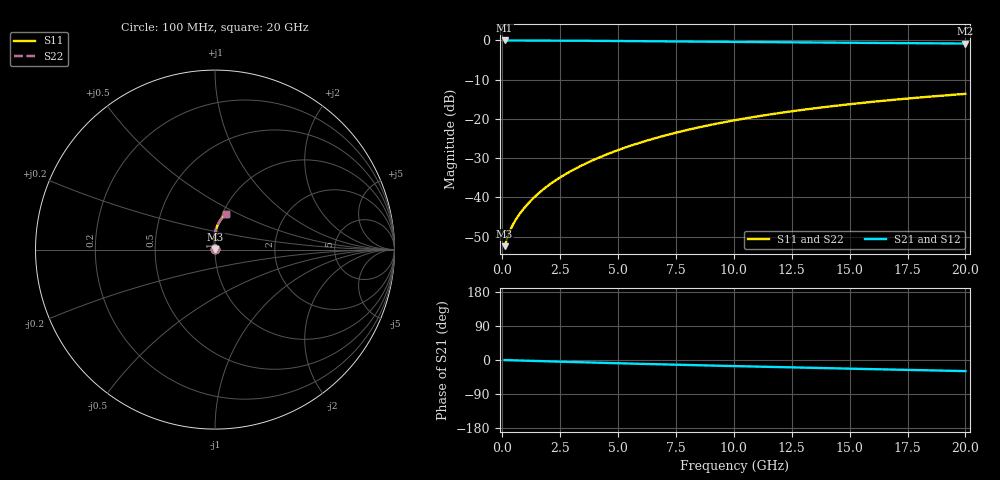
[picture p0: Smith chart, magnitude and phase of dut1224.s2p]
! Touchstone file exported from HFSS 2024.1.0
!  File:  C:/UserFiles/LocalFiles/RDL_TSV_Batchsim/temp_RDL_top_1224_1780240374.aedt
!  Generated:  11:14:59 PM May 31, 2026
!  Design:  RDL_top
!  Project:  temp_RDL_top_1224_1780240374
!  Setup:  Setup1
!  Solution:  Sweep
! Variables:
!  dtsv = 10.80580581um
!  hbump = 3um
!  htsv = 84.4um
!  ldown = 100um
!  lrdl = 457.48um
!  p = 40
!  p1 = 43.75um
!  rhole = 1um
!  t = 450um
!  tdown = 3.915915916um
!  trdl = 3um
!  wdown = 15.38538539um
!  wrdl = 28.45um
# GHz S MA R 50.000000
! Terminal data exported
! Port[1] = Box2_T1
! Port[2] = Box2_T2
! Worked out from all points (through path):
!   200 points, 100 MHz to 20 GHz, reference 50 ohm
!   highest |S21| = -0.02 dB at 100 MHz (marker M1); lowest = -0.8 dB at 20 GHz (marker M2)
!   group delay of S21, straight-line fit = 4.01 ps
!   lowest |S11| = -52.4 dB at 100 MHz (marker M3), VSWR 1.00, Z = 50.2 + j0.0933 ohm
!   |S11| at or under -10 dB: start of sweep to end of sweep
!   |S22| runs from -52.4 to -13.6 dB; largest |S21 - S12| = 2.6e-15
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0.1  0.002393 22.9  0.9978 -0.2  0.9978 -0.2  0.002393 22.9
! Gamma 0 0 0 0
! Port Impedance 50 0 50 0
0.3  0.00356 45.3  0.9974 -0.6  0.9974 -0.6  0.00356 45.3
0.4  0.004156 50.8  0.9972 -0.7  0.9972 -0.7  0.004156 50.8
0.5  0.004731 55.1  0.997 -0.9  0.997 -0.9  0.004731 55.1
0.6  0.005299 58.7  0.9968 -1.1  0.9968 -1.1  0.0053 58.7
0.8  0.006449 64.7  0.9965 -1.5  0.9965 -1.5  0.006449 64.7
1  0.007641 69.4  0.9962 -1.8  0.9962 -1.8  0.007641 69.4
1.2  0.00888 73.2  0.9959 -2.2  0.9959 -2.2  0.008881 73.2
1.7  0.01218 80.0  0.9948 -3.0  0.9948 -3.0  0.01218 80.0
2.2  0.01573 84.5  0.9935 -3.9  0.9935 -3.9  0.01573 84.5
2.8  0.02032 88.1  0.9916 -4.9  0.9916 -4.9  0.02032 88.1
3.5  0.02612 90.9  0.9889 -6.1  0.9889 -6.1  0.02612 90.9
4.2  0.03238 92.6  0.9858 -7.3  0.9858 -7.3  0.03238 92.6
5  0.04005 93.7  0.982 -8.6  0.982 -8.6  0.04005 93.7
5.9  0.04925 94.0  0.9775 -10.0  0.9775 -10.0  0.04926 94.0
6.8  0.05894 93.7  0.9728 -11.4  0.9728 -11.4  0.05895 93.7
8.4  0.077 92.2  0.9644 -13.8  0.9644 -13.8  0.07701 92.1
10.1  0.09681 89.8  0.9557 -16.2  0.9557 -16.2  0.09682 89.7
11.7  0.1156 87.2  0.9478 -18.4  0.9478 -18.4  0.1156 87.1
13.4  0.1355 84.3  0.9399 -20.7  0.9399 -20.7  0.1355 84.3
16.7  0.1729 78.6  0.9254 -25.1  0.9254 -25.1  0.173 78.6
20  0.2084 73.2  0.9116 -29.3  0.9116 -29.3  0.2084 73.2
